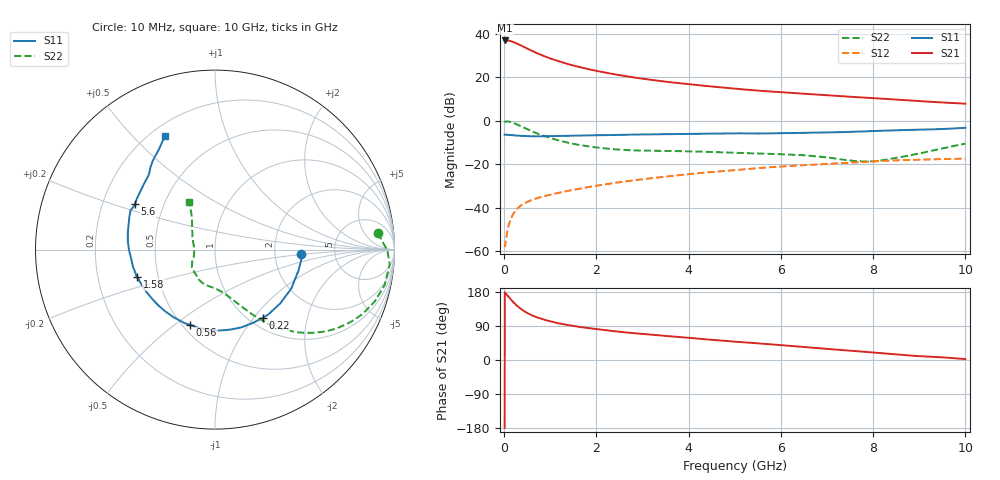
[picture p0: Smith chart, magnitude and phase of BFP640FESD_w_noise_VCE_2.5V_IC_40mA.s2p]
! Infineon Technologies  Discrete & RF Semiconductors
! BFP640FESD
! VCE =  2.5 V,  IC =  40 mA
! Common Emitter S-Parameters:  Jan 2016
# GHz  S  MA  R  50
!  f  S11  S21  S12  S22
! GHz  MAG  ANG  MAG  ANG  MAG  ANG  MAG  ANG
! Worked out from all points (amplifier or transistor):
!   233 points, 10 MHz to 10 GHz, reference 50 ohm
!   highest |S21| = 37.0 dB at 20 MHz (marker M1)
!   |S21| within 3 dB of that: start of sweep to 428.4 MHz
!   unconditionally stable (mu >= 1): 2.681 GHz to end of sweep
!   at 200 MHz: K = 0.19, MSG = 39.5 dB, |S12| = -42.7 dB
!   at 1.74 GHz: K = 0.90, MSG = 27.5 dB, |S12| = -30.8 dB
!   at 10 GHz: K = 1.06, MAG = 11.2 dB, |S12| = -17.4 dB
!   lowest NFmin = 1.24 dB at 450 MHz
!   S11 on the Smith chart (normalised r, x): 10 MHz: 2.83, -0.18; 220 MHz: 1.15, -1.11; 560 MHz: 0.55, -0.57; 1.58 GHz: 0.38, -0.15; 5.6 GHz: 0.34, +0.24; 10 GHz: 0.26, +0.62
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0.01  0.48 -2.9  70.57 -179.2  0.0014 126.1  0.9117 5.8
0.02  0.4845 -6.1  71.19 177.4  0.0013 97.9  0.9611 -0.4
0.1  0.4771 -27.0  70.62 166.1  0.004 79.8  0.9661 -11.7
0.15  0.4713 -39.4  68.46 158.8  0.0057 76.6  0.9361 -18.0
0.22  0.4633 -55.0  64.16 149.9  0.0078 71.4  0.879 -25.5
0.3  0.4576 -71.4  58.88 140.8  0.0099 67.1  0.8082 -32.9
0.36  0.4527 -81.8  54.79 135.2  0.0112 64.6  0.7546 -37.4
0.45  0.4472 -95.2  49.07 127.7  0.0128 61.6  0.6804 -43.0
0.56  0.4421 -108.2  43.03 120.6  0.0145 59.6  0.602 -48.2
0.72  0.4414 -123.2  35.97 112.2  0.0166 58.2  0.5111 -54.0
0.8  0.4417 -129.0  33.06 108.7  0.0176 58.1  0.4742 -56.3
0.98  0.4441 -139.7  27.93 102.5  0.0197 58.3  0.4086 -60.6
1.2  0.4502 -149.4  23.27 96.3  0.0222 59.0  0.3495 -65.1
1.58  0.4605 -160.8  17.93 88.4  0.0268 60.4  0.2845 -72.1
1.68  0.4618 -163.3  16.89 86.5  0.028 60.7  0.2726 -73.8
2.4  0.4737 -176.4  11.79 75.8  0.0373 61.5  0.2211 -87.2
3.4  0.4928 170.4  8.243 64.7  0.0506 60.2  0.2042 -104.3
5.1  0.5174 154.4  5.402 47.5  0.0748 54.2  0.1827 -123.2
5.6  0.5131 150.4  4.892 43.1  0.083 52.3  0.1759 -126.6
6.8  0.5375 137.9  4.018 31.2  0.099 45.0  0.1509 -147.9
8.4  0.603 125.2  3.142 15.6  0.1223 35.5  0.1344 157.1
10  0.6921 113.8  2.492 2.4  0.1351 24.8  0.2999 118.5
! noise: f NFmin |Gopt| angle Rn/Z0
0.45  1.24  0.27  -171  0.08
2.4  1.28  0.28  -151  0.11
5.5  1.51  0.34  -146  0.12
10  2.04  0.48  -101  0.38
